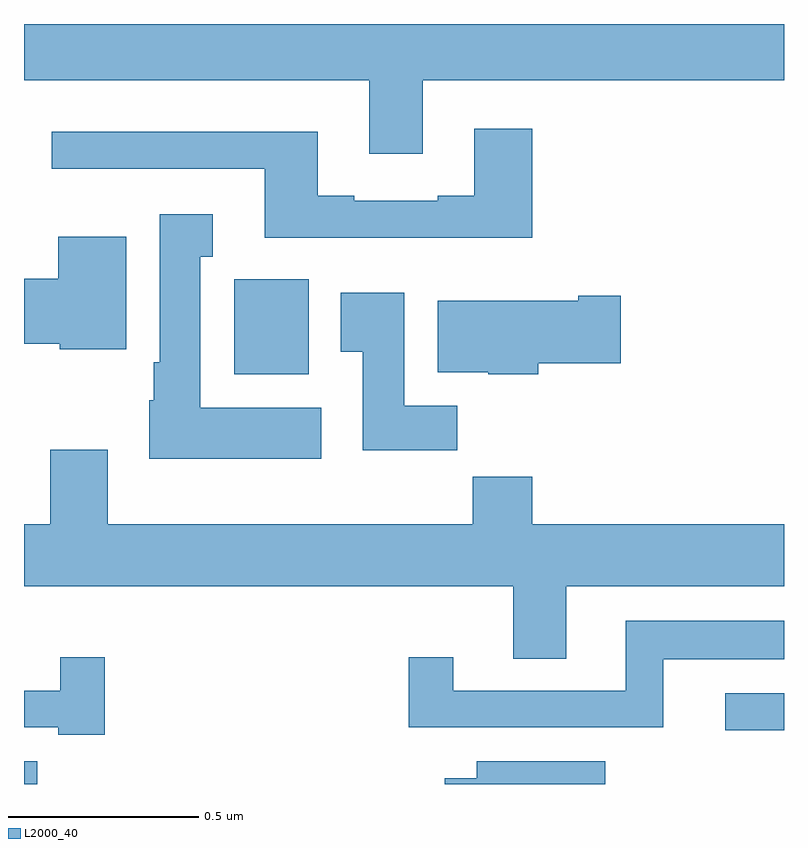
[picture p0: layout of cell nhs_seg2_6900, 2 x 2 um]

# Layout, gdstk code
import gdstk
lib = gdstk.Library(unit=1e-6, precision=1e-09)
def R(c, l, rs):  # rectangles x0, y0, x1, y1
    for r in rs: c.add(gdstk.rectangle(r[:2], r[2:], *l))
def P(c, l, *ps):  # polygons
    for p in ps: c.add(gdstk.Polygon(p, *l))
L2000_40 = (2000, 40)

nhs_seg2_6900 = lib.new_cell('nhs_seg2_6900')
R(nhs_seg2_6900, L2000_40, [(197,629.8,197.035,629.86), (198.846,629.942,199,630.039), (197.553,630.878,197.749,631.128)])
P(nhs_seg2_6900, L2000_40, [(198.049,631.652),(199,631.652),(199,631.8),(197,631.8),(197,631.652),(197.909,631.652),(197.909,631.458),(198.049,631.458)],
  [(198.338,631.525),(198.185,631.525),(198.185,631.348),(198.089,631.348),(198.089,631.335),(197.869,631.335),(197.869,631.348),(197.773,631.348),(197.773,631.516),(197.073,631.516),(197.073,631.419),(197.633,631.419),(197.633,631.238),(198.338,631.238)],
  [(197.782,630.79),(197.464,630.79),(197.464,631.187),(197.497,631.187),(197.497,631.3),(197.357,631.3),(197.357,630.91),(197.342,630.91),(197.342,630.81),(197.33,630.81),(197.33,630.656),(197.782,630.656)],
  [(197.269,631.24),(197.09,631.24),(197.09,631.13),(197,631.13),(197,630.958),(197.094,630.958),(197.094,630.944),(197.269,630.944)],
  [(198.14,630.796),(198.001,630.796),(198.001,631.093),(197.834,631.093),(197.834,630.937),(197.891,630.937),(197.891,630.678),(198.14,630.678)],
  [(198.353,630.907),(198.571,630.907),(198.571,631.085),(198.458,631.085),(198.458,631.072),(198.089,631.072),(198.089,630.884),(198.222,630.884),(198.222,630.878),(198.353,630.878)],
  [(198.287,630.13),(198.427,630.13),(198.427,630.32),(199,630.32),(199,630.484),(198.338,630.484),(198.338,630.608),(198.181,630.608),(198.181,630.484),(197.221,630.484),(197.221,630.679),(197.069,630.679),(197.069,630.484),(197,630.484),(197,630.32),(198.287,630.32)],
  [(198.682,630.128),(199,630.128),(199,630.229),(198.584,630.229),(198.584,630.045),(198.13,630.045),(198.13,630.133),(198.013,630.133),(198.013,629.949),(198.682,629.949)],
  [(197.213,630.133),(197.096,630.133),(197.096,630.045),(197,630.045),(197,629.949),(197.09,629.949),(197.09,629.929),(197.213,629.929)],
  [(198.529,629.86),(198.191,629.86),(198.191,629.815),(198.107,629.815),(198.107,629.8),(198.529,629.8)])

lib.write_gds('nhs_seg2_6900.gds')
